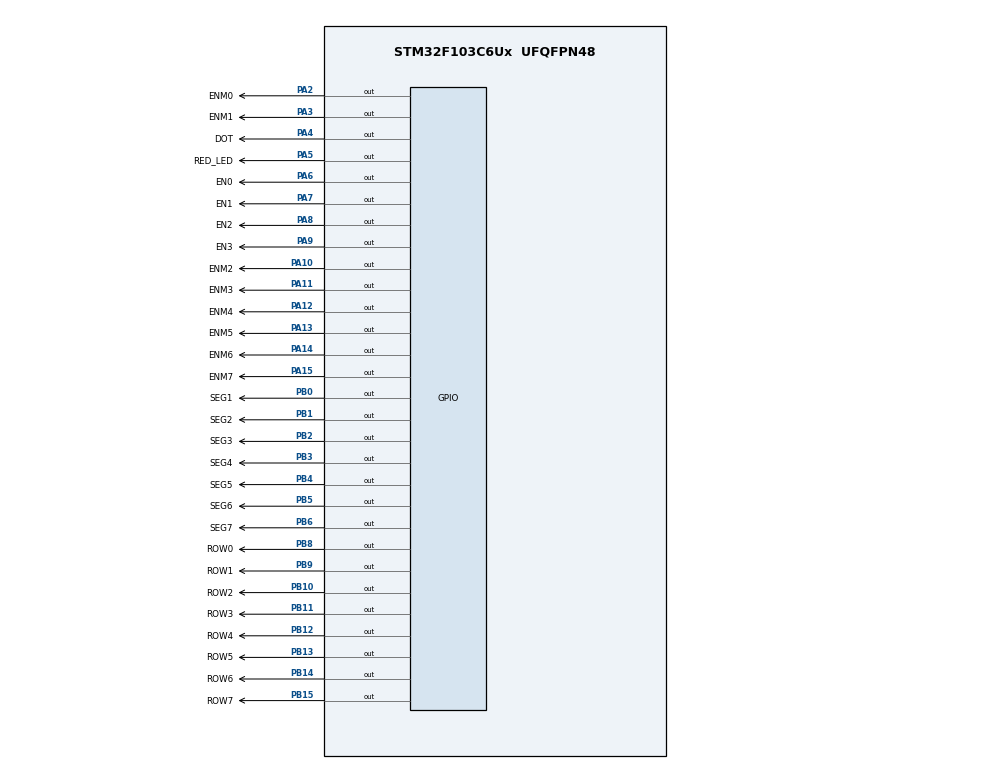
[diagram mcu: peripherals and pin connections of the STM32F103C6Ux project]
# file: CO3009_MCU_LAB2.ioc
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Mcu.Family=STM32F1
Mcu.Name=STM32F103C6Ux
Mcu.Package=UFQFPN48
NVIC.PriorityGroup=NVIC_PRIORITYGROUP_4
NVIC.TIM2_IRQn=true\:0\:0\:false\:false\:true\:true\:true
PA10.GPIO_Label=ENM2
PA10.Signal=GPIO_Output
PA11.GPIO_Label=ENM3
PA11.Signal=GPIO_Output
PA12.GPIO_Label=ENM4
PA12.Signal=GPIO_Output
PA13.GPIO_Label=ENM5
PA13.Signal=GPIO_Output
PA14.GPIO_Label=ENM6
PA14.Signal=GPIO_Output
PA15.GPIO_Label=ENM7
PA15.Signal=GPIO_Output
PA2.GPIO_Label=ENM0
PA2.Signal=GPIO_Output
PA3.GPIO_Label=ENM1
PA3.Signal=GPIO_Output
PA4.GPIO_Label=DOT
PA4.Signal=GPIO_Output
PA5.GPIO_Label=RED_LED
PA5.Signal=GPIO_Output
PA6.GPIO_Label=EN0
PA6.Signal=GPIO_Output
PA7.GPIO_Label=EN1
PA7.Signal=GPIO_Output
PA8.GPIO_Label=EN2
PA8.Signal=GPIO_Output
PA9.GPIO_Label=EN3
PA9.Signal=GPIO_Output
PB0.GPIO_Label=SEG1
PB0.Signal=GPIO_Output
PB1.GPIO_Label=SEG2
PB1.Signal=GPIO_Output
PB10.GPIO_Label=ROW2
PB10.Signal=GPIO_Output
PB11.GPIO_Label=ROW3
PB11.Signal=GPIO_Output
PB12.GPIO_Label=ROW4
PB12.Signal=GPIO_Output
PB13.GPIO_Label=ROW5
PB13.Signal=GPIO_Output
PB14.GPIO_Label=ROW6
PB14.Signal=GPIO_Output
PB15.GPIO_Label=ROW7
PB15.Signal=GPIO_Output
PB2.GPIO_Label=SEG3
PB2.Signal=GPIO_Output
PB3.GPIO_Label=SEG4
PB3.Signal=GPIO_Output
PB4.GPIO_Label=SEG5
PB4.Signal=GPIO_Output
PB5.GPIO_Label=SEG6
PB5.Signal=GPIO_Output
PB6.GPIO_Label=SEG7
PB6.Signal=GPIO_Output
PB8.GPIO_Label=ROW0
PB8.Signal=GPIO_Output
PB9.GPIO_Label=ROW1
PB9.Signal=GPIO_Output
ProjectManager.HeapSize=0x200
ProjectManager.StackSize=0x400
ProjectManager.TargetToolchain=STM32CubeIDE
RCC.APB1Freq_Value=8000000
RCC.APB2Freq_Value=8000000
TIM2.Period=9
TIM2.Prescaler=7999
VP_SYS_VS_ND.Mode=No_Debug
VP_TIM2_VS_ClockSourceINT.Mode=Internal
board=custom

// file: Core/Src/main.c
/* USER CODE BEGIN Header */
/**
  ******************************************************************************
  * @file           : main.c
  * @brief          : Main program body
  ******************************************************************************
  * @attention
  *
  * <h2><center>&copy; Copyright (c) 2022 STMicroelectronics.
  * All rights reserved.</center></h2>
  *
  * This software component is licensed by ST under BSD 3-Clause license,
  * the "License"; You may not use this file except in compliance with the
  * License. You may obtain a copy of the License at:
  *                        opensource.org/licenses/BSD-3-Clause
  *
  ******************************************************************************
  */
/* USER CODE END Header */
#include "main.h"
#include "seven_segment_led.h"
#include "software_timer.h"

/* USER CODE BEGIN PD */
#define DURATION 		50
#define DURATION_4HZ 	25
#define DURATION_1HZ 	100
#define DURATION_2HZ	50
#define TIMER_CYCLE 	10
#define DELAY_TIME		1000
/* USER CODE END PD */

TIM_HandleTypeDef htim2;

/* USER CODE BEGIN PV */
int led_buffer[4] = {4, 3, 2, 1};
int segment_index = 0;

int timer0_flag = 0;
int timer1_flag = 0;
int timer2_flag = 0;
int timer3_flag = 0;

int timer0_counter = 0;
int timer1_counter = 0;
int timer2_counter = 0;
int timer3_counter = 0;

int hour = 15;
int minute = 8;
int second = 55;
/* USER CODE END PV */

void SystemClock_Config(void);
static void MX_GPIO_Init(void);
static void MX_TIM2_Init(void);

int main(void)
{

  /* MCU Configuration--------------------------------------------------------*/

  /* Reset of all peripherals, Initializes the Flash interface and the Systick. */
  HAL_Init();

  /* Configure the system clock */
  SystemClock_Config();

  /* Initialize all configured peripherals */
  MX_GPIO_Init();
  MX_TIM2_Init();
  /* USER CODE BEGIN 2 */
  HAL_TIM_Base_Start_IT(&htim2);
  /* USER CODE END 2 */

  /* Infinite loop */
  /* USER CODE BEGIN WHILE */
  setTimer0(1000);
  setTimer1(1000);
  setTimer2(1000);
  setTimer3(1000);
  while (1)
  {
	  /* USER CODE END WHILE */\
	  // DOT PIN BLink every 1 second
	  if(timer0_flag == 1){
		  HAL_GPIO_TogglePin(DOT_GPIO_Port, DOT_Pin);
		  setTimer0(1000);
	  }
	  // RED LED BLink every 0.5 second
	  if(timer1_flag == 1){
		  HAL_GPIO_TogglePin(RED_LED_GPIO_Port, RED_LED_Pin);
		  setTimer1(500);
	  }
	  // Clock value increase every second
	  if(timer2_flag == 1){
		  clock();
		  setTimer2(1000);
	  }
	  // Segment Scanning with frequency of 4Hz
	  if(timer3_flag == 1){
		  change7Segment();
		  setTimer3(250);
	  }
  }
}

void SystemClock_Config(void)
{
  RCC_OscInitTypeDef RCC_OscInitStruct = {0};
  RCC_ClkInitTypeDef RCC_ClkInitStruct = {0};

  /** Initializes the RCC Oscillators according to the specified parameters
  * in the RCC_OscInitTypeDef structure.
  */
  RCC_OscInitStruct.OscillatorType = RCC_OSCILLATORTYPE_HSI;
  RCC_OscInitStruct.HSIState = RCC_HSI_ON;
  RCC_OscInitStruct.HSICalibrationValue = RCC_HSICALIBRATION_DEFAULT;
  RCC_OscInitStruct.PLL.PLLState = RCC_PLL_NONE;
  if (HAL_RCC_OscConfig(&RCC_OscInitStruct) != HAL_OK)
  {
    Error_Handler();
  }
  /** Initializes the CPU, AHB and APB buses clocks
  */
  RCC_ClkInitStruct.ClockType = RCC_CLOCKTYPE_HCLK|RCC_CLOCKTYPE_SYSCLK
                              |RCC_CLOCKTYPE_PCLK1|RCC_CLOCKTYPE_PCLK2;
  RCC_ClkInitStruct.SYSCLKSource = RCC_SYSCLKSOURCE_HSI;
  RCC_ClkInitStruct.AHBCLKDivider = RCC_SYSCLK_DIV1;
  RCC_ClkInitStruct.APB1CLKDivider = RCC_HCLK_DIV1;
  RCC_ClkInitStruct.APB2CLKDivider = RCC_HCLK_DIV1;

  if (HAL_RCC_ClockConfig(&RCC_ClkInitStruct, FLASH_LATENCY_0) != HAL_OK)
  {
    Error_Handler();
  }
}

static void MX_TIM2_Init(void)
{

  TIM_ClockConfigTypeDef sClockSourceConfig = {0};
  TIM_MasterConfigTypeDef sMasterConfig = {0};

  htim2.Instance = TIM2;
  htim2.Init.Prescaler = 7999;
  htim2.Init.CounterMode = TIM_COUNTERMODE_UP;
  htim2.Init.Period = 9;
  htim2.Init.ClockDivision = TIM_CLOCKDIVISION_DIV1;
  htim2.Init.AutoReloadPreload = TIM_AUTORELOAD_PRELOAD_DISABLE;
  if (HAL_TIM_Base_Init(&htim2) != HAL_OK)
  {
    Error_Handler();
  }
  sClockSourceConfig.ClockSource = TIM_CLOCKSOURCE_INTERNAL;
  if (HAL_TIM_ConfigClockSource(&htim2, &sClockSourceConfig) != HAL_OK)
  {
    Error_Handler();
  }
  sMasterConfig.MasterOutputTrigger = TIM_TRGO_RESET;
  sMasterConfig.MasterSlaveMode = TIM_MASTERSLAVEMODE_DISABLE;
  if (HAL_TIMEx_MasterConfigSynchronization(&htim2, &sMasterConfig) != HAL_OK)
  {
    Error_Handler();
  }

}

static void MX_GPIO_Init(void)
{
  GPIO_InitTypeDef GPIO_InitStruct = {0};

  /* GPIO Ports Clock Enable */
  __HAL_RCC_GPIOA_CLK_ENABLE();
  __HAL_RCC_GPIOB_CLK_ENABLE();

  /*Configure GPIO pin Output Level */
  HAL_GPIO_WritePin(GPIOA, ENM0_Pin|ENM1_Pin|DOT_Pin|RED_LED_Pin
                          |EN0_Pin|EN1_Pin|EN2_Pin|EN3_Pin
                          |ENM2_Pin|ENM3_Pin|ENM4_Pin|ENM5_Pin
                          |ENM6_Pin|ENM7_Pin, GPIO_PIN_RESET);

  /*Configure GPIO pin Output Level */
  HAL_GPIO_WritePin(GPIOB, SEG1_Pin|SEG2_Pin|SEG3_Pin|ROW2_Pin
                          |ROW3_Pin|ROW4_Pin|ROW5_Pin|ROW6_Pin
                          |ROW7_Pin|SEG4_Pin|SEG5_Pin|SEG6_Pin
                          |SEG7_Pin|ROW0_Pin|ROW1_Pin, GPIO_PIN_RESET);

  /*Configure GPIO pins : ENM0_Pin ENM1_Pin DOT_Pin RED_LED_Pin
                           EN0_Pin EN1_Pin EN2_Pin EN3_Pin
                           ENM2_Pin ENM3_Pin ENM4_Pin ENM5_Pin
                           ENM6_Pin ENM7_Pin */
  GPIO_InitStruct.Pin = ENM0_Pin|ENM1_Pin|DOT_Pin|RED_LED_Pin
                          |EN0_Pin|EN1_Pin|EN2_Pin|EN3_Pin
                          |ENM2_Pin|ENM3_Pin|ENM4_Pin|ENM5_Pin
                          |ENM6_Pin|ENM7_Pin;
  GPIO_InitStruct.Mode = GPIO_MODE_OUTPUT_PP;
  GPIO_InitStruct.Pull = GPIO_NOPULL;
  GPIO_InitStruct.Speed = GPIO_SPEED_FREQ_LOW;
  HAL_GPIO_Init(GPIOA, &GPIO_InitStruct);

  /*Configure GPIO pins : SEG1_Pin SEG2_Pin SEG3_Pin ROW2_Pin
                           ROW3_Pin ROW4_Pin ROW5_Pin ROW6_Pin
                           ROW7_Pin SEG4_Pin SEG5_Pin SEG6_Pin
                           SEG7_Pin ROW0_Pin ROW1_Pin */
  GPIO_InitStruct.Pin = SEG1_Pin|SEG2_Pin|SEG3_Pin|ROW2_Pin
                          |ROW3_Pin|ROW4_Pin|ROW5_Pin|ROW6_Pin
                          |ROW7_Pin|SEG4_Pin|SEG5_Pin|SEG6_Pin
                          |SEG7_Pin|ROW0_Pin|ROW1_Pin;
  GPIO_InitStruct.Mode = GPIO_MODE_OUTPUT_PP;
  GPIO_InitStruct.Pull = GPIO_NOPULL;
  GPIO_InitStruct.Speed = GPIO_SPEED_FREQ_LOW;
  HAL_GPIO_Init(GPIOB, &GPIO_InitStruct);

}

/* USER CODE BEGIN 4 */
int counter = DURATION_4HZ;
int counter_red_led = DURATION_2HZ;
int counter_dot = DURATION_1HZ;
enum segment{SEVEN_SEGMENT_1, SEVEN_SEGMENT_2, SEVEN_SEGMENT_3, SEVEN_SEGMENT_4};
enum segment segmentState = SEVEN_SEGMENT_1;

void HAL_TIM_PeriodElapsedCallback(TIM_HandleTypeDef *htim){
	timer_run();
}
/* USER CODE END 4 */

void Error_Handler(void)
{
  __disable_irq();
  while (1)
  {
  }
}

/************************ (C) COPYRIGHT STMicroelectronics *****END OF FILE****/
